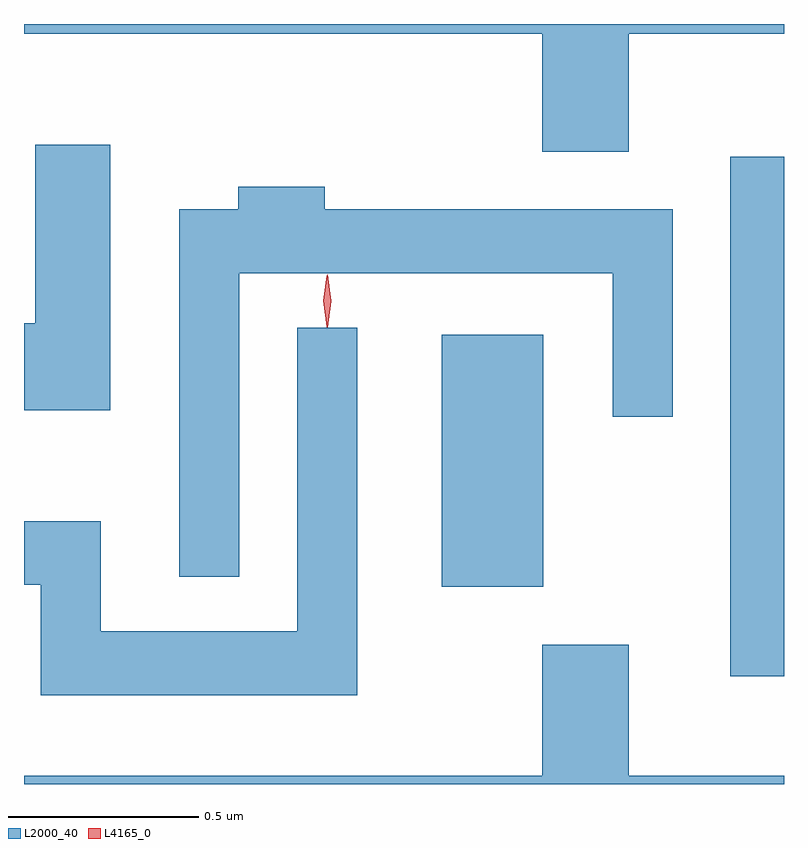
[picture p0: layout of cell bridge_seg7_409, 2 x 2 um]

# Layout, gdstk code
import gdstk
lib = gdstk.Library(unit=1e-6, precision=1e-09)
def R(c, l, rs):  # rectangles x0, y0, x1, y1
    for r in rs: c.add(gdstk.rectangle(r[:2], r[2:], *l))
def P(c, l, *ps):  # polygons
    for p in ps: c.add(gdstk.Polygon(p, *l))
L2000_40 = (2000, 40)
L4165_0 = (4165, 0)

bridge_seg7_409 = lib.new_cell('bridge_seg7_409')
R(bridge_seg7_409, L2000_40, [(1151.746,1759.246,1151.887,1760.613), (1150.986,1759.481,1151.254,1760.144)])
P(bridge_seg7_409, L2000_40, [(1151.479,1760.936),(1151.887,1760.936),(1151.887,1760.962),(1149.887,1760.962),(1149.887,1760.936),(1151.251,1760.936),(1151.251,1760.626),(1151.479,1760.626)],
  [(1150.114,1760.644),(1149.916,1760.644),(1149.916,1760.174),(1149.887,1760.174),(1149.887,1759.946),(1150.114,1759.946)],
  [(1150.454,1760.306),(1151.436,1760.306),(1151.436,1759.928),(1151.594,1759.928),(1151.594,1760.474),(1150.679,1760.474),(1150.679,1760.534),(1150.451,1760.534),(1150.451,1760.474),(1150.296,1760.474),(1150.296,1759.508),(1150.454,1759.508)],
  [(1150.764,1760.163),(1150.606,1760.163),(1150.606,1759.364),(1150.089,1759.364),(1150.089,1759.654),(1149.887,1759.654),(1149.887,1759.486),(1149.931,1759.486),(1149.931,1759.196),(1150.764,1759.196)],
  [(1151.887,1758.984),(1151.479,1758.984),(1151.479,1759.329),(1151.251,1759.329),(1151.251,1758.984),(1149.887,1758.984),(1149.887,1758.962),(1151.887,1758.962)])
P(bridge_seg7_409, L4165_0, [(1150.684,1760.164),(1150.676,1760.233),(1150.686,1760.302),(1150.686,1760.303),(1150.686,1760.302),(1150.696,1760.233),(1150.686,1760.164),(1150.685,1760.164)],
  [(1150.684,1760.167),(1150.675,1760.234),(1150.684,1760.3),(1150.685,1760.301),(1150.685,1760.3),(1150.695,1760.234),(1150.685,1760.167),(1150.685,1760.167)])

lib.write_gds('bridge_seg7_409.gds')
